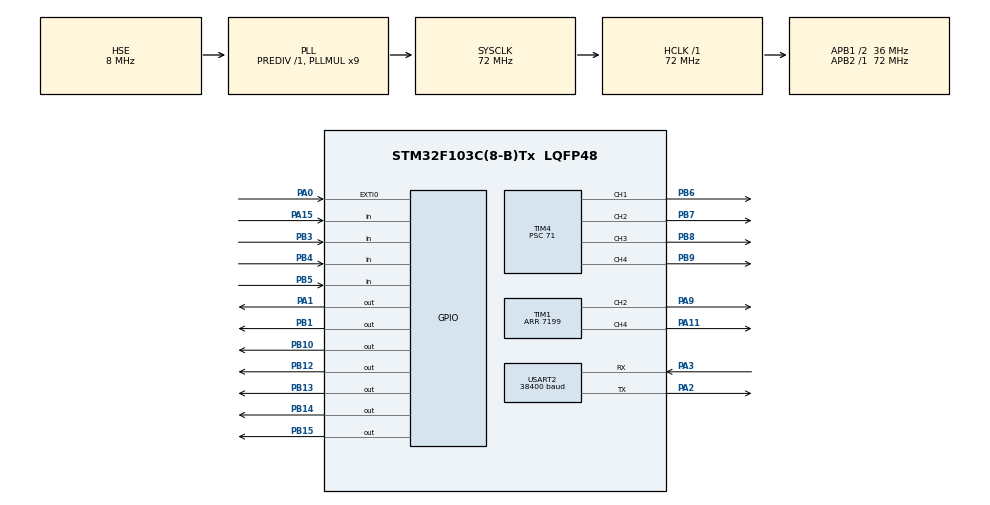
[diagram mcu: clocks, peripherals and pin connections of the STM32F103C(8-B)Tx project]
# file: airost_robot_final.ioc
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Mcu.Family=STM32F1
Mcu.Name=STM32F103C(8-B)Tx
Mcu.Package=LQFP48
NVIC.EXTI0_IRQn=true\:0\:0\:false\:false\:true\:true\:true\:true
NVIC.PriorityGroup=NVIC_PRIORITYGROUP_4
NVIC.USART2_IRQn=true\:0\:0\:false\:false\:true\:true\:true\:true
PA0-WKUP.GPIO_ModeDefaultEXTI=GPIO_MODE_IT_RISING_FALLING
PA0-WKUP.Signal=GPXTI0
PA1.GPIO_Speed=GPIO_SPEED_FREQ_HIGH
PA1.Signal=GPIO_Output
PA11.Signal=S_TIM1_CH4
PA13.Mode=Serial_Wire
PA13.Signal=SYS_JTMS-SWDIO
PA14.Mode=Serial_Wire
PA14.Signal=SYS_JTCK-SWCLK
PA15.GPIO_Mode=GPIO_MODE_INPUT
PA15.GPIO_PuPd=GPIO_PULLDOWN
PA15.Signal=GPIO_Input
PA2.Mode=Asynchronous
PA2.Signal=USART2_TX
PA3.Mode=Asynchronous
PA3.Signal=USART2_RX
PA9.Signal=S_TIM1_CH2
PB1.Signal=GPIO_Output
PB10.Signal=GPIO_Output
PB12.Signal=GPIO_Output
PB13.Signal=GPIO_Output
PB14.Signal=GPIO_Output
PB15.Signal=GPIO_Output
PB3.GPIO_PuPd=GPIO_PULLDOWN
PB3.Signal=GPIO_Input
PB4.GPIO_PuPd=GPIO_PULLDOWN
PB4.Signal=GPIO_Input
PB5.GPIO_PuPd=GPIO_PULLDOWN
PB5.Signal=GPIO_Input
PB6.Signal=S_TIM4_CH1
PB7.Signal=S_TIM4_CH2
PB8.Signal=S_TIM4_CH3
PB9.Signal=S_TIM4_CH4
PC14-OSC32_IN.Mode=LSE-External-Oscillator
PC14-OSC32_IN.Signal=RCC_OSC32_IN
PC15-OSC32_OUT.Mode=LSE-External-Oscillator
PC15-OSC32_OUT.Signal=RCC_OSC32_OUT
PD0-OSC_IN.Mode=HSE-External-Oscillator
PD0-OSC_IN.Signal=RCC_OSC_IN
PD1-OSC_OUT.Mode=HSE-External-Oscillator
PD1-OSC_OUT.Signal=RCC_OSC_OUT
ProjectManager.HeapSize=0x200
ProjectManager.StackSize=0x400
ProjectManager.TargetToolchain=STM32CubeIDE
RCC.AHBFreq_Value=72000000
RCC.APB1CLKDivider=RCC_HCLK_DIV2
RCC.APB1Freq_Value=36000000
RCC.APB1TimFreq_Value=72000000
RCC.APB2Freq_Value=72000000
RCC.APB2TimFreq_Value=72000000
RCC.HCLKFreq_Value=72000000
RCC.PLLMUL=RCC_PLL_MUL9
RCC.PLLSourceVirtual=RCC_PLLSOURCE_HSE
RCC.SYSCLKFreq_VALUE=72000000
RCC.SYSCLKSource=RCC_SYSCLKSOURCE_PLLCLK
RCC.USBFreq_Value=72000000
SH.S_TIM1_CH2.0=TIM1_CH2,PWM Generation2 CH2
SH.S_TIM1_CH4.0=TIM1_CH4,PWM Generation4 CH4
SH.S_TIM4_CH1.0=TIM4_CH1,PWM Generation1 CH1
SH.S_TIM4_CH2.0=TIM4_CH2,PWM Generation2 CH2
SH.S_TIM4_CH3.0=TIM4_CH3,PWM Generation3 CH3
SH.S_TIM4_CH4.0=TIM4_CH4,PWM Generation4 CH4
TIM1.Channel-PWM\ Generation2\ CH2=TIM_CHANNEL_2
TIM1.Channel-PWM\ Generation4\ CH4=TIM_CHANNEL_4
TIM1.Period=7199
TIM3.Prescaler=71
TIM4.Channel-PWM\ Generation1\ CH1=TIM_CHANNEL_1
TIM4.Channel-PWM\ Generation2\ CH2=TIM_CHANNEL_2
TIM4.Channel-PWM\ Generation3\ CH3=TIM_CHANNEL_3
TIM4.Channel-PWM\ Generation4\ CH4=TIM_CHANNEL_4
TIM4.Prescaler=71
USART2.BaudRate=38400
USART2.VirtualMode=VM_ASYNC
VP_TIM1_VS_ClockSourceINT.Mode=Internal
VP_TIM3_VS_ClockSourceINT.Mode=Internal
VP_TIM4_VS_ClockSourceINT.Mode=Internal
board=custom

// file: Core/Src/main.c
/* USER CODE BEGIN Header */
/**
 ******************************************************************************
 * @file           : main.c
 * @brief          : Main program body
 ******************************************************************************
 * @attention
 *
 * Copyright (c) 2024 STMicroelectronics.
 * All rights reserved.
 *
 * This software is licensed under terms that can be found in the LICENSE file
 * in the root directory of this software component.
 * If no LICENSE file comes with this software, it is provided AS-IS.
 *
 ******************************************************************************
 */
/* USER CODE END Header */
#include "main.h"

/* USER CODE BEGIN Includes */
#include <math.h>
#include "motor.h"
#include "servo.h"
#include "sr04.h"
#include "linefollow.h"
#include "bluetooth.h"
/* USER CODE END Includes */

TIM_HandleTypeDef htim1;
TIM_HandleTypeDef htim3;
TIM_HandleTypeDef htim4;

UART_HandleTypeDef huart2;

/* USER CODE BEGIN PV */

char rxBuffer[50];  // Buffer to store received data
volatile uint8_t rxIndex = 0;   // Current position in the buffer
volatile uint8_t messageReady = 0; // Flag indicating a complete message received
//volatile is used because the variable is update in the interrupt
extern uint8_t open;
extern uint8_t arm;
extern uint8_t following;
extern float distance;
uint8_t manual = 1;
uint8_t pushbutton = 0;

/* USER CODE END PV */

void SystemClock_Config(void);
static void MX_GPIO_Init(void);
static void MX_USART2_UART_Init(void);
static void MX_TIM4_Init(void);
static void MX_TIM1_Init(void);
static void MX_TIM3_Init(void);

int main(void)
{

  /* MCU Configuration--------------------------------------------------------*/

  /* Reset of all peripherals, Initializes the Flash interface and the Systick. */
  HAL_Init();

  /* Configure the system clock */
  SystemClock_Config();

  /* Initialize all configured peripherals */
  MX_GPIO_Init();
  MX_USART2_UART_Init();
  MX_TIM4_Init();
  MX_TIM1_Init();
  MX_TIM3_Init();
  /* USER CODE BEGIN 2 */
    //initialize motor
	Motor_Init();
	Set_Speed(0, 0);
	//initialize servo
	Servo_Init();
	Set_FrontBack(0);
	Set_LeftRight(0);
	Set_UpDown(0);
	Close_Claw();
	//initialize receiver
	HAL_UART_Receive_IT(&huart2, (uint8_t *)&rxBuffer[rxIndex], 1);

  /* USER CODE END 2 */

  /* Infinite loop */
  /* USER CODE BEGIN WHILE */
	while (1)
	{
		//change operating mode(autonomous to manual)
		if(HAL_GPIO_ReadPin(GPIOB, GPIO_PIN_11) == 1 && pushbutton == 0)
		{
			HAL_GPIO_TogglePin(GPIOB, GPIO_PIN_10);
			pushbutton = 1;
			manual = !manual;
			Set_Speed(0, 0);
		}
		if(HAL_GPIO_ReadPin(GPIOB, GPIO_PIN_11) == 0 && pushbutton == 1)
		{
			pushbutton = 0;
		}

		//get distance from sr04
		GET_Distance();

		//line following
		//need to make a source file
		if(manual == 0)
		{
			LineFollowing_Update();

			//obstacle detection
			if(distance < 10)
			{
				Set_Speed(0,0);
				HAL_GPIO_WritePin(GPIOB, GPIO_PIN_1, GPIO_PIN_SET);
			}
			else
			{
				HAL_GPIO_WritePin(GPIOB, GPIO_PIN_1, GPIO_PIN_RESET);
			}
		}

		//manual mode
		if (messageReady) {
			ProcessReceivedData(rxBuffer);
			messageReady = 0; // Reset the flag after processing
		}
    /* USER CODE END WHILE */

	}
}

void SystemClock_Config(void)
{
  RCC_OscInitTypeDef RCC_OscInitStruct = {0};
  RCC_ClkInitTypeDef RCC_ClkInitStruct = {0};

  /** Initializes the RCC Oscillators according to the specified parameters
  * in the RCC_OscInitTypeDef structure.
  */
  RCC_OscInitStruct.OscillatorType = RCC_OSCILLATORTYPE_HSE;
  RCC_OscInitStruct.HSEState = RCC_HSE_ON;
  RCC_OscInitStruct.HSEPredivValue = RCC_HSE_PREDIV_DIV1;
  RCC_OscInitStruct.HSIState = RCC_HSI_ON;
  RCC_OscInitStruct.PLL.PLLState = RCC_PLL_ON;
  RCC_OscInitStruct.PLL.PLLSource = RCC_PLLSOURCE_HSE;
  RCC_OscInitStruct.PLL.PLLMUL = RCC_PLL_MUL9;
  if (HAL_RCC_OscConfig(&RCC_OscInitStruct) != HAL_OK)
  {
    Error_Handler();
  }

  /** Initializes the CPU, AHB and APB buses clocks
  */
  RCC_ClkInitStruct.ClockType = RCC_CLOCKTYPE_HCLK|RCC_CLOCKTYPE_SYSCLK
                              |RCC_CLOCKTYPE_PCLK1|RCC_CLOCKTYPE_PCLK2;
  RCC_ClkInitStruct.SYSCLKSource = RCC_SYSCLKSOURCE_PLLCLK;
  RCC_ClkInitStruct.AHBCLKDivider = RCC_SYSCLK_DIV1;
  RCC_ClkInitStruct.APB1CLKDivider = RCC_HCLK_DIV2;
  RCC_ClkInitStruct.APB2CLKDivider = RCC_HCLK_DIV1;

  if (HAL_RCC_ClockConfig(&RCC_ClkInitStruct, FLASH_LATENCY_2) != HAL_OK)
  {
    Error_Handler();
  }
}

static void MX_TIM1_Init(void)
{

  TIM_ClockConfigTypeDef sClockSourceConfig = {0};
  TIM_MasterConfigTypeDef sMasterConfig = {0};
  TIM_OC_InitTypeDef sConfigOC = {0};
  TIM_BreakDeadTimeConfigTypeDef sBreakDeadTimeConfig = {0};

  htim1.Instance = TIM1;
  htim1.Init.Prescaler = 0;
  htim1.Init.CounterMode = TIM_COUNTERMODE_UP;
  htim1.Init.Period = 7199;
  htim1.Init.ClockDivision = TIM_CLOCKDIVISION_DIV1;
  htim1.Init.RepetitionCounter = 0;
  htim1.Init.AutoReloadPreload = TIM_AUTORELOAD_PRELOAD_DISABLE;
  if (HAL_TIM_Base_Init(&htim1) != HAL_OK)
  {
    Error_Handler();
  }
  sClockSourceConfig.ClockSource = TIM_CLOCKSOURCE_INTERNAL;
  if (HAL_TIM_ConfigClockSource(&htim1, &sClockSourceConfig) != HAL_OK)
  {
    Error_Handler();
  }
  if (HAL_TIM_PWM_Init(&htim1) != HAL_OK)
  {
    Error_Handler();
  }
  sMasterConfig.MasterOutputTrigger = TIM_TRGO_RESET;
  sMasterConfig.MasterSlaveMode = TIM_MASTERSLAVEMODE_DISABLE;
  if (HAL_TIMEx_MasterConfigSynchronization(&htim1, &sMasterConfig) != HAL_OK)
  {
    Error_Handler();
  }
  sConfigOC.OCMode = TIM_OCMODE_PWM1;
  sConfigOC.Pulse = 0;
  sConfigOC.OCPolarity = TIM_OCPOLARITY_HIGH;
  sConfigOC.OCNPolarity = TIM_OCNPOLARITY_HIGH;
  sConfigOC.OCFastMode = TIM_OCFAST_DISABLE;
  sConfigOC.OCIdleState = TIM_OCIDLESTATE_RESET;
  sConfigOC.OCNIdleState = TIM_OCNIDLESTATE_RESET;
  if (HAL_TIM_PWM_ConfigChannel(&htim1, &sConfigOC, TIM_CHANNEL_2) != HAL_OK)
  {
    Error_Handler();
  }
  if (HAL_TIM_PWM_ConfigChannel(&htim1, &sConfigOC, TIM_CHANNEL_4) != HAL_OK)
  {
    Error_Handler();
  }
  sBreakDeadTimeConfig.OffStateRunMode = TIM_OSSR_DISABLE;
  sBreakDeadTimeConfig.OffStateIDLEMode = TIM_OSSI_DISABLE;
  sBreakDeadTimeConfig.LockLevel = TIM_LOCKLEVEL_OFF;
  sBreakDeadTimeConfig.DeadTime = 0;
  sBreakDeadTimeConfig.BreakState = TIM_BREAK_DISABLE;
  sBreakDeadTimeConfig.BreakPolarity = TIM_BREAKPOLARITY_HIGH;
  sBreakDeadTimeConfig.AutomaticOutput = TIM_AUTOMATICOUTPUT_DISABLE;
  if (HAL_TIMEx_ConfigBreakDeadTime(&htim1, &sBreakDeadTimeConfig) != HAL_OK)
  {
    Error_Handler();
  }
  HAL_TIM_MspPostInit(&htim1);

}

static void MX_TIM3_Init(void)
{

  TIM_ClockConfigTypeDef sClockSourceConfig = {0};
  TIM_MasterConfigTypeDef sMasterConfig = {0};

  htim3.Instance = TIM3;
  htim3.Init.Prescaler = 71;
  htim3.Init.CounterMode = TIM_COUNTERMODE_UP;
  htim3.Init.Period = 65535;
  htim3.Init.ClockDivision = TIM_CLOCKDIVISION_DIV1;
  htim3.Init.AutoReloadPreload = TIM_AUTORELOAD_PRELOAD_DISABLE;
  if (HAL_TIM_Base_Init(&htim3) != HAL_OK)
  {
    Error_Handler();
  }
  sClockSourceConfig.ClockSource = TIM_CLOCKSOURCE_INTERNAL;
  if (HAL_TIM_ConfigClockSource(&htim3, &sClockSourceConfig) != HAL_OK)
  {
    Error_Handler();
  }
  sMasterConfig.MasterOutputTrigger = TIM_TRGO_RESET;
  sMasterConfig.MasterSlaveMode = TIM_MASTERSLAVEMODE_DISABLE;
  if (HAL_TIMEx_MasterConfigSynchronization(&htim3, &sMasterConfig) != HAL_OK)
  {
    Error_Handler();
  }

}

static void MX_TIM4_Init(void)
{

  TIM_ClockConfigTypeDef sClockSourceConfig = {0};
  TIM_MasterConfigTypeDef sMasterConfig = {0};
  TIM_OC_InitTypeDef sConfigOC = {0};

  htim4.Instance = TIM4;
  htim4.Init.Prescaler = 71;
  htim4.Init.CounterMode = TIM_COUNTERMODE_UP;
  htim4.Init.Period = 65535;
  htim4.Init.ClockDivision = TIM_CLOCKDIVISION_DIV1;
  htim4.Init.AutoReloadPreload = TIM_AUTORELOAD_PRELOAD_DISABLE;
  if (HAL_TIM_Base_Init(&htim4) != HAL_OK)
  {
    Error_Handler();
  }
  sClockSourceConfig.ClockSource = TIM_CLOCKSOURCE_INTERNAL;
  if (HAL_TIM_ConfigClockSource(&htim4, &sClockSourceConfig) != HAL_OK)
  {
    Error_Handler();
  }
  if (HAL_TIM_PWM_Init(&htim4) != HAL_OK)
  {
    Error_Handler();
  }
  sMasterConfig.MasterOutputTrigger = TIM_TRGO_RESET;
  sMasterConfig.MasterSlaveMode = TIM_MASTERSLAVEMODE_DISABLE;
  if (HAL_TIMEx_MasterConfigSynchronization(&htim4, &sMasterConfig) != HAL_OK)
  {
    Error_Handler();
  }
  sConfigOC.OCMode = TIM_OCMODE_PWM1;
  sConfigOC.Pulse = 0;
  sConfigOC.OCPolarity = TIM_OCPOLARITY_HIGH;
  sConfigOC.OCFastMode = TIM_OCFAST_DISABLE;
  if (HAL_TIM_PWM_ConfigChannel(&htim4, &sConfigOC, TIM_CHANNEL_1) != HAL_OK)
  {
    Error_Handler();
  }
  if (HAL_TIM_PWM_ConfigChannel(&htim4, &sConfigOC, TIM_CHANNEL_2) != HAL_OK)
  {
    Error_Handler();
  }
  if (HAL_TIM_PWM_ConfigChannel(&htim4, &sConfigOC, TIM_CHANNEL_3) != HAL_OK)
  {
    Error_Handler();
  }
  if (HAL_TIM_PWM_ConfigChannel(&htim4, &sConfigOC, TIM_CHANNEL_4) != HAL_OK)
  {
    Error_Handler();
  }
  HAL_TIM_MspPostInit(&htim4);

}

static void MX_USART2_UART_Init(void)
{

  huart2.Instance = USART2;
  huart2.Init.BaudRate = 38400;
  huart2.Init.WordLength = UART_WORDLENGTH_8B;
  huart2.Init.StopBits = UART_STOPBITS_1;
  huart2.Init.Parity = UART_PARITY_NONE;
  huart2.Init.Mode = UART_MODE_TX_RX;
  huart2.Init.HwFlowCtl = UART_HWCONTROL_NONE;
  huart2.Init.OverSampling = UART_OVERSAMPLING_16;
  if (HAL_UART_Init(&huart2) != HAL_OK)
  {
    Error_Handler();
  }

}

static void MX_GPIO_Init(void)
{
  GPIO_InitTypeDef GPIO_InitStruct = {0};

  /* GPIO Ports Clock Enable */
  __HAL_RCC_GPIOC_CLK_ENABLE();
  __HAL_RCC_GPIOD_CLK_ENABLE();
  __HAL_RCC_GPIOA_CLK_ENABLE();
  __HAL_RCC_GPIOB_CLK_ENABLE();

  /*Configure GPIO pin Output Level */
  HAL_GPIO_WritePin(GPIOA, GPIO_PIN_1, GPIO_PIN_RESET);

  /*Configure GPIO pin Output Level */
  HAL_GPIO_WritePin(GPIOB, GPIO_PIN_1|GPIO_PIN_10|GPIO_PIN_12|GPIO_PIN_13
                          |GPIO_PIN_14|GPIO_PIN_15, GPIO_PIN_RESET);

  /*Configure GPIO pin : PA0 */
  GPIO_InitStruct.Pin = GPIO_PIN_0;
  GPIO_InitStruct.Mode = GPIO_MODE_IT_RISING_FALLING;
  GPIO_InitStruct.Pull = GPIO_NOPULL;
  HAL_GPIO_Init(GPIOA, &GPIO_InitStruct);

  /*Configure GPIO pin : PA1 */
  GPIO_InitStruct.Pin = GPIO_PIN_1;
  GPIO_InitStruct.Mode = GPIO_MODE_OUTPUT_PP;
  GPIO_InitStruct.Pull = GPIO_NOPULL;
  GPIO_InitStruct.Speed = GPIO_SPEED_FREQ_HIGH;
  HAL_GPIO_Init(GPIOA, &GPIO_InitStruct);

  /*Configure GPIO pins : PB1 PB10 PB12 PB13
                           PB14 PB15 */
  GPIO_InitStruct.Pin = GPIO_PIN_1|GPIO_PIN_10|GPIO_PIN_12|GPIO_PIN_13
                          |GPIO_PIN_14|GPIO_PIN_15;
  GPIO_InitStruct.Mode = GPIO_MODE_OUTPUT_PP;
  GPIO_InitStruct.Pull = GPIO_NOPULL;
  GPIO_InitStruct.Speed = GPIO_SPEED_FREQ_LOW;
  HAL_GPIO_Init(GPIOB, &GPIO_InitStruct);

  /*Configure GPIO pin : PA15 */
  GPIO_InitStruct.Pin = GPIO_PIN_15;
  GPIO_InitStruct.Mode = GPIO_MODE_INPUT;
  GPIO_InitStruct.Pull = GPIO_PULLDOWN;
  HAL_GPIO_Init(GPIOA, &GPIO_InitStruct);

  /*Configure GPIO pins : PB3 PB4 PB5 */
  GPIO_InitStruct.Pin = GPIO_PIN_3|GPIO_PIN_4|GPIO_PIN_5;
  GPIO_InitStruct.Mode = GPIO_MODE_INPUT;
  GPIO_InitStruct.Pull = GPIO_PULLDOWN;
  HAL_GPIO_Init(GPIOB, &GPIO_InitStruct);

  /* EXTI interrupt init*/
  HAL_NVIC_SetPriority(EXTI0_IRQn, 0, 0);
  HAL_NVIC_EnableIRQ(EXTI0_IRQn);

}

void Error_Handler(void)
{
	__disable_irq();
	while (1)
	{
	}
}
